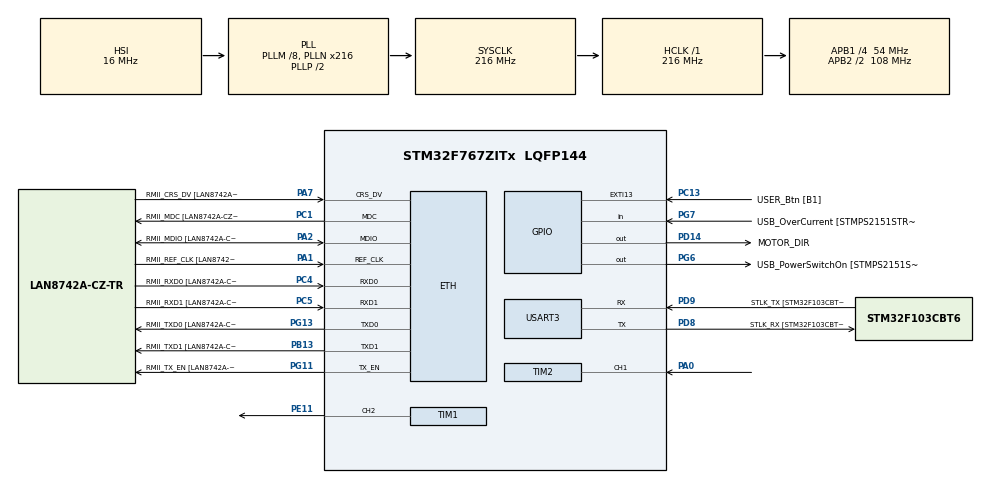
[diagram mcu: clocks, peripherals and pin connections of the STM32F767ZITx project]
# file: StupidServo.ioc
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Dma.Request0=USART3_RX
Dma.Request1=USART3_TX
Dma.USART3_RX.0.Direction=DMA_PERIPH_TO_MEMORY
Dma.USART3_RX.0.FIFOMode=DMA_FIFOMODE_DISABLE
Dma.USART3_RX.0.Instance=DMA1_Stream1
Dma.USART3_RX.0.MemDataAlignment=DMA_MDATAALIGN_BYTE
Dma.USART3_RX.0.MemInc=DMA_MINC_ENABLE
Dma.USART3_RX.0.Mode=DMA_CIRCULAR
Dma.USART3_RX.0.PeriphDataAlignment=DMA_PDATAALIGN_BYTE
Dma.USART3_RX.0.PeriphInc=DMA_PINC_DISABLE
Dma.USART3_RX.0.Priority=DMA_PRIORITY_LOW
Dma.USART3_TX.1.Direction=DMA_MEMORY_TO_PERIPH
Dma.USART3_TX.1.FIFOMode=DMA_FIFOMODE_DISABLE
Dma.USART3_TX.1.Instance=DMA1_Stream3
Dma.USART3_TX.1.MemDataAlignment=DMA_MDATAALIGN_BYTE
Dma.USART3_TX.1.MemInc=DMA_MINC_ENABLE
Dma.USART3_TX.1.Mode=DMA_NORMAL
Dma.USART3_TX.1.PeriphDataAlignment=DMA_PDATAALIGN_BYTE
Dma.USART3_TX.1.PeriphInc=DMA_PINC_DISABLE
Dma.USART3_TX.1.Priority=DMA_PRIORITY_HIGH
ETH.MediaInterface=HAL_ETH_RMII_MODE
FREERTOS.Tasks01=defaultTask,0,256,StartDefaultTask,Default,NULL,Dynamic,NULL,NULL;NetDiscoverTask,-3,256,StartNetDiscoverTask,Default,NULL,Dynamic,NULL,NULL;NetServerTask,-3,256,StartNetServerTask,Default,NULL,Dynamic,NULL,NULL;NetTxTask,-3,256,StartNetTxTask,Default,NULL,Dynamic,NULL,NULL;UartTxTask,-3,256,StartUartTxTask,Default,NULL,Dynamic,NULL,NULL;TelemetryTask,-1,256,StartTelemetryTask,Default,NULL,Dynamic,NULL,NULL;UartRxTask,0,256,StartUartRxTask,Default,NULL,Dynamic,NULL,NULL
FREERTOS.configUSE_NEWLIB_REENTRANT=1
LWIP.BSP.number=1
LWIP.GATEWAY_ADDRESS=192.168.001.001
LWIP.IP_ADDRESS=192.168.001.002
LWIP.LWIP_DHCP=0
LWIP.NETMASK_ADDRESS=255.255.255.000
LWIP.Version=v2.1.2_Cube
LWIP0.BSP.STBoard=false
LWIP0.BSP.api=BSP_COMPONENT_DRIVER
LWIP0.BSP.component=LAN8742
LWIP0.BSP.instance=LAN8742
LWIP0.BSP.name=Driver_PHY
LWIP0.BSP.semaphore=S_LAN8742
LWIP0.BSP.solution=LAN8742
Mcu.Family=STM32F7
Mcu.Name=STM32F767ZITx
Mcu.Package=LQFP144
NVIC.DMA1_Stream1_IRQn=true\:5\:0\:false\:false\:true\:true\:false\:true\:true
NVIC.DMA1_Stream3_IRQn=true\:5\:0\:false\:false\:true\:true\:false\:true\:true
NVIC.ETH_IRQn=true\:5\:0\:false\:false\:true\:true\:false\:true\:true
NVIC.PriorityGroup=NVIC_PRIORITYGROUP_4
NVIC.TIM6_DAC_IRQn=true\:15\:0\:false\:false\:true\:false\:false\:true\:true
NVIC.TIM7_IRQn=true\:5\:0\:false\:false\:true\:true\:true\:true\:true
NVIC.TimeBase=TIM6_DAC_IRQn
NVIC.TimeBaseIP=TIM6
NVIC.USART3_IRQn=true\:5\:0\:false\:false\:true\:true\:true\:true\:true
PA0/WKUP.Signal=S_TIM2_CH1_ETR
PA1.GPIO_Label=RMII_REF_CLK [LAN8742A-CZ-TR_REFCLK0]
PA1.Mode=RMII
PA1.Signal=ETH_REF_CLK
PA10.GPIO_Label=USB_ID
PA10.Signal=USB_OTG_FS_ID
PA11.GPIO_Label=USB_DM
PA11.Signal=USB_OTG_FS_DM
PA12.GPIO_Label=USB_DP
PA12.Signal=USB_OTG_FS_DP
PA13.GPIO_Label=TMS
PA13.Signal=SYS_JTMS-SWDIO
PA14.GPIO_Label=TCK
PA14.Signal=SYS_JTCK-SWCLK
PA2.GPIO_Label=RMII_MDIO [LAN8742A-CZ-TR_MDIO]
PA2.Mode=RMII
PA2.Signal=ETH_MDIO
PA7.GPIO_Label=RMII_CRS_DV [LAN8742A-CZ-TR_CRS_DV]
PA7.Mode=RMII
PA7.Signal=ETH_CRS_DV
PA8.GPIO_Label=USB_SOF [TP1]
PA8.Signal=USB_OTG_FS_SOF
PA9.GPIO_Label=USB_VBUS
PA9.Signal=USB_OTG_FS_VBUS
PB13.GPIO_Label=RMII_TXD1 [LAN8742A-CZ-TR_TXD1]
PB13.Mode=RMII
PB13.Signal=ETH_TXD1
PB3.GPIO_Label=SW0
PB3.Signal=SYS_JTDO-SWO
PC1.GPIO_Label=RMII_MDC [LAN8742A-CZ-TR_MDC]
PC1.Mode=RMII
PC1.Signal=ETH_MDC
PC13.GPIO_Label=USER_Btn [B1]
PC13.Signal=GPXTI13
PC14/OSC32_IN.Signal=RCC_OSC32_IN
PC15/OSC32_OUT.Signal=RCC_OSC32_OUT
PC4.GPIO_Label=RMII_RXD0 [LAN8742A-CZ-TR_RXD0]
PC4.Mode=RMII
PC4.Signal=ETH_RXD0
PC5.GPIO_Label=RMII_RXD1 [LAN8742A-CZ-TR_RXD1]
PC5.Mode=RMII
PC5.Signal=ETH_RXD1
PD14.GPIO_Label=MOTOR_DIR
PD14.GPIO_ModeDefaultOutputPP=GPIO_MODE_OUTPUT_PP
PD14.Signal=GPIO_Output
PD8.GPIO_Label=STLK_RX [STM32F103CBT6_PA3]
PD8.Mode=Asynchronous
PD8.Signal=USART3_TX
PD9.GPIO_Label=STLK_TX [STM32F103CBT6_PA2]
PD9.Mode=Asynchronous
PD9.Signal=USART3_RX
PE11.GPIO_ModeDefaultPP=GPIO_MODE_AF_OD
PE11.GPIO_PuPd=GPIO_PULLDOWN
PE11.Signal=S_TIM1_CH2
PG11.GPIO_Label=RMII_TX_EN [LAN8742A-CZ-TR_TXEN]
PG11.Mode=RMII
PG11.Signal=ETH_TX_EN
PG13.GPIO_Label=RMII_TXD0 [LAN8742A-CZ-TR_TXD0]
PG13.Mode=RMII
PG13.Signal=ETH_TXD0
PG6.GPIO_Label=USB_PowerSwitchOn [STMPS2151STR_EN]
PG6.Signal=GPIO_Output
PG7.GPIO_Label=USB_OverCurrent [STMPS2151STR_FAULT]
PG7.Signal=GPIO_Input
PH0/OSC_IN.GPIO_Label=MCO [STM32F103CBT6_PA8]
PH0/OSC_IN.Signal=RCC_OSC_IN
PH1/OSC_OUT.Signal=RCC_OSC_OUT
ProjectManager.HeapSize=0x200
ProjectManager.StackSize=0x400
ProjectManager.TargetToolchain=STM32CubeIDE
RCC.48MHZClocksFreq_Value=24000000
RCC.AHBFreq_Value=216000000
RCC.APB1CLKDivider=RCC_HCLK_DIV4
RCC.APB1Freq_Value=54000000
RCC.APB1TimFreq_Value=108000000
RCC.APB2CLKDivider=RCC_HCLK_DIV2
RCC.APB2Freq_Value=108000000
RCC.APB2TimFreq_Value=216000000
RCC.CortexFreq_Value=216000000
RCC.HCLKFreq_Value=216000000
RCC.HSE_VALUE=16000000
RCC.HSI_VALUE=16000000
RCC.LSE_VALUE=32768
RCC.PLLM=8
RCC.PLLMUL=RCC_PLL_MUL9
RCC.PLLN=216
RCC.PRESCALERUSB=RCC_USBCLKSOURCE_PLL_DIV1_5
RCC.SYSCLKFreq_VALUE=216000000
RCC.SYSCLKSource=RCC_SYSCLKSOURCE_PLLCLK
RCC.SYSCLKSourceVirtual=RCC_SYSCLKSOURCE_PLLCLK
RCC.USBFreq_Value=216000000
RCC.VCOOutputFreq_Value=432000000
SH.S_TIM1_CH2.0=TIM1_CH2,PWM Generation2 CH2
SH.S_TIM2_CH1_ETR.0=TIM2_CH1,TriggerSource_TI1FP1
TIM1.Channel-PWM\ Generation2\ CH2=TIM_CHANNEL_2
TIM1.Period=52333
TIM1.Prescaler=9
TIM7.Period=6749
TIM7.Prescaler=639
USART3.VirtualMode-Asynchronous=VM_ASYNC
VP_FREERTOS_VS_CMSIS_V1.Mode=CMSIS_V1
VP_LWIP_VS_Enabled.Mode=Enabled
VP_SYS_VS_tim6.Mode=TIM6
VP_TIM2_VS_ControllerModeClock.Mode=Clock Mode
VP_TIM7_VS_ClockSourceINT.Mode=Enable_Timer
board=NUCLEO-F767ZI

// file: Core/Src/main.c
/* USER CODE BEGIN Header */
/**
  ******************************************************************************
  * @file           : main.c
  * @brief          : Main program body
  ******************************************************************************
  * @attention
  *
  * Copyright (c) 2026 STMicroelectronics.
  * All rights reserved.
  *
  * This software is licensed under terms that can be found in the LICENSE file
  * in the root directory of this software component.
  * If no LICENSE file comes with this software, it is provided AS-IS.
  *
  ******************************************************************************
  */
/* USER CODE END Header */
#include "main.h"
#include "cmsis_os.h"
#include "dma.h"
#include "lwip.h"
#include "tim.h"
#include "usart.h"
#include "gpio.h"

/* USER CODE BEGIN Includes */
#include "uart_rx.h"
#include "control_state.h"
#include "motor_control.h"
/* USER CODE END Includes */

/* USER CODE BEGIN PV */
extern UART_HandleTypeDef huart3;
/* USER CODE END PV */

void SystemClock_Config(void);
void MX_FREERTOS_Init(void);

int main(void)
{

  /* MCU Configuration--------------------------------------------------------*/

  /* Reset of all peripherals, Initializes the Flash interface and the Systick. */
  HAL_Init();

  /* Configure the system clock */
  SystemClock_Config();

  /* Initialize all configured peripherals */
  MX_GPIO_Init();
  MX_DMA_Init();
  MX_USART3_UART_Init();
  MX_TIM1_Init();
  MX_TIM2_Init();
  MX_TIM7_Init();
  /* USER CODE BEGIN 2 */
  control_init();
  uart_rx_dma_init(&huart3);
  MotorControl_Init();
  HAL_TIM_Base_Start_IT(&htim7); //PID
  HAL_TIM_Base_Start(&htim2);    //encoder
  /* USER CODE END 2 */

  /* Call init function for freertos objects (in cmsis_os2.c) */
  MX_FREERTOS_Init();

  /* Start scheduler */
  osKernelStart();

  /* We should never get here as control is now taken by the scheduler */

  /* Infinite loop */
  while (1)
  {

  }
}

void SystemClock_Config(void)
{
  RCC_OscInitTypeDef RCC_OscInitStruct = {0};
  RCC_ClkInitTypeDef RCC_ClkInitStruct = {0};

  /** Configure the main internal regulator output voltage
  */
  __HAL_RCC_PWR_CLK_ENABLE();
  __HAL_PWR_VOLTAGESCALING_CONFIG(PWR_REGULATOR_VOLTAGE_SCALE1);

  /** Initializes the RCC Oscillators according to the specified parameters
  * in the RCC_OscInitTypeDef structure.
  */
  RCC_OscInitStruct.OscillatorType = RCC_OSCILLATORTYPE_HSI;
  RCC_OscInitStruct.HSIState = RCC_HSI_ON;
  RCC_OscInitStruct.HSICalibrationValue = RCC_HSICALIBRATION_DEFAULT;
  RCC_OscInitStruct.PLL.PLLState = RCC_PLL_ON;
  RCC_OscInitStruct.PLL.PLLSource = RCC_PLLSOURCE_HSI;
  RCC_OscInitStruct.PLL.PLLM = 8;
  RCC_OscInitStruct.PLL.PLLN = 216;
  RCC_OscInitStruct.PLL.PLLP = RCC_PLLP_DIV2;
  RCC_OscInitStruct.PLL.PLLQ = 2;
  RCC_OscInitStruct.PLL.PLLR = 2;
  if (HAL_RCC_OscConfig(&RCC_OscInitStruct) != HAL_OK)
  {
    Error_Handler();
  }

  /** Activate the Over-Drive mode
  */
  if (HAL_PWREx_EnableOverDrive() != HAL_OK)
  {
    Error_Handler();
  }

  /** Initializes the CPU, AHB and APB buses clocks
  */
  RCC_ClkInitStruct.ClockType = RCC_CLOCKTYPE_HCLK|RCC_CLOCKTYPE_SYSCLK
                              |RCC_CLOCKTYPE_PCLK1|RCC_CLOCKTYPE_PCLK2;
  RCC_ClkInitStruct.SYSCLKSource = RCC_SYSCLKSOURCE_PLLCLK;
  RCC_ClkInitStruct.AHBCLKDivider = RCC_SYSCLK_DIV1;
  RCC_ClkInitStruct.APB1CLKDivider = RCC_HCLK_DIV4;
  RCC_ClkInitStruct.APB2CLKDivider = RCC_HCLK_DIV2;

  if (HAL_RCC_ClockConfig(&RCC_ClkInitStruct, FLASH_LATENCY_7) != HAL_OK)
  {
    Error_Handler();
  }
}

void HAL_TIM_PeriodElapsedCallback(TIM_HandleTypeDef *htim)
{
  if (htim->Instance == TIM6)
  {
    HAL_IncTick();
  }
  /* USER CODE BEGIN Callback 1 */

  if (htim->Instance == TIM7)
    {
	  MotorControl_Step();
    }

  /* USER CODE END Callback 1 */
}

void Error_Handler(void)
{
  __disable_irq();
  while (1)
  {
  }
}

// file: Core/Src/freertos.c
/* USER CODE BEGIN Header */
/**
  ******************************************************************************
  * File Name          : freertos.c
  * Description        : Code for freertos applications
  ******************************************************************************
  * @attention
  *
  * Copyright (c) 2026 STMicroelectronics.
  * All rights reserved.
  *
  * This software is licensed under terms that can be found in the LICENSE file
  * in the root directory of this software component.
  * If no LICENSE file comes with this software, it is provided AS-IS.
  *
  ******************************************************************************
  */
/* USER CODE END Header */

#include "FreeRTOS.h"
#include "task.h"
#include "main.h"
#include "cmsis_os.h"

/* USER CODE BEGIN Includes */
#include "net_discovery.h"
#include "net_server.h"
#include "net_tx.h"
#include "uart_tx.h"
#include "uart_rx.h"
#include "telemetry.h"
#include "pid_sample_rb.h"
#include "control_state.h"
#include "lwip.h"
#include "lwip/netif.h"
#include "lwip/ip_addr.h"   // for ipaddr_ntoa if you print IP
/* USER CODE END Includes */

osThreadId defaultTaskHandle;
osThreadId NetDiscoverTaskHandle;
osThreadId NetServerTaskHandle;
osThreadId NetTxTaskHandle;
osThreadId UartTxTaskHandle;
osThreadId TelemetryTaskHandle;
osThreadId UartRxTaskHandle;

void StartDefaultTask(void const * argument);
void StartNetDiscoverTask(void const * argument);
void StartNetServerTask(void const * argument);
void StartNetTxTask(void const * argument);
void StartUartTxTask(void const * argument);
void StartTelemetryTask(void const * argument);
void StartUartRxTask(void const * argument);

extern void MX_LWIP_Init(void);
void MX_FREERTOS_Init(void); /* (MISRA C 2004 rule 8.1) */

/* GetIdleTaskMemory prototype (linked to static allocation support) */
void vApplicationGetIdleTaskMemory( StaticTask_t **ppxIdleTaskTCBBuffer, StackType_t **ppxIdleTaskStackBuffer, uint32_t *pulIdleTaskStackSize );

/* USER CODE BEGIN GET_IDLE_TASK_MEMORY */
static StaticTask_t xIdleTaskTCBBuffer;
static StackType_t xIdleStack[configMINIMAL_STACK_SIZE];

void vApplicationGetIdleTaskMemory( StaticTask_t **ppxIdleTaskTCBBuffer, StackType_t **ppxIdleTaskStackBuffer, uint32_t *pulIdleTaskStackSize )
{
  *ppxIdleTaskTCBBuffer = &xIdleTaskTCBBuffer;
  *ppxIdleTaskStackBuffer = &xIdleStack[0];
  *pulIdleTaskStackSize = configMINIMAL_STACK_SIZE;
  /* place for user code */
}
/* USER CODE END GET_IDLE_TASK_MEMORY */

void MX_FREERTOS_Init(void) {
  /* USER CODE BEGIN Init */
	log_router_init();
  /* USER CODE END Init */

  /* Create the thread(s) */
  /* definition and creation of defaultTask */
  osThreadDef(defaultTask, StartDefaultTask, osPriorityNormal, 0, 256);
  defaultTaskHandle = osThreadCreate(osThread(defaultTask), NULL);

  /* definition and creation of NetDiscoverTask */
  osThreadDef(NetDiscoverTask, StartNetDiscoverTask, osPriorityIdle, 0, 256);
  NetDiscoverTaskHandle = osThreadCreate(osThread(NetDiscoverTask), NULL);

  /* definition and creation of NetServerTask */
  osThreadDef(NetServerTask, StartNetServerTask, osPriorityIdle, 0, 256);
  NetServerTaskHandle = osThreadCreate(osThread(NetServerTask), NULL);

  /* definition and creation of NetTxTask */
  osThreadDef(NetTxTask, StartNetTxTask, osPriorityIdle, 0, 256);
  NetTxTaskHandle = osThreadCreate(osThread(NetTxTask), NULL);

  /* definition and creation of UartTxTask */
  osThreadDef(UartTxTask, StartUartTxTask, osPriorityIdle, 0, 256);
  UartTxTaskHandle = osThreadCreate(osThread(UartTxTask), NULL);

  /* definition and creation of TelemetryTask */
  osThreadDef(TelemetryTask, StartTelemetryTask, osPriorityBelowNormal, 0, 256);
  TelemetryTaskHandle = osThreadCreate(osThread(TelemetryTask), NULL);

  /* definition and creation of UartRxTask */
  osThreadDef(UartRxTask, StartUartRxTask, osPriorityNormal, 0, 256);
  UartRxTaskHandle = osThreadCreate(osThread(UartRxTask), NULL);

}

void StartDefaultTask(void const * argument)
{
  /* init code for LWIP */
  MX_LWIP_Init();
  /* USER CODE BEGIN StartDefaultTask */
  /* Infinite loop */
  char buf[64];
  int i = 0;

  for(;;)
  {

	osDelay(1000);
  }
  /* USER CODE END StartDefaultTask */
}

void StartNetDiscoverTask(void const * argument)
{
  /* USER CODE BEGIN StartNetDiscoverTask */
  /* Infinite loop */
  NetDiscover();
  /* USER CODE END StartNetDiscoverTask */
}

void StartNetServerTask(void const * argument)
{
  /* USER CODE BEGIN StartNetServerTask */
  /* Infinite loop */
  NetServer();
  /* USER CODE END StartNetServerTask */
}

void StartNetTxTask(void const * argument)
{
  /* USER CODE BEGIN StartNetTxTask */
  /* Infinite loop */
  NetTx();
  /* USER CODE END StartNetTxTask */
}

void StartUartTxTask(void const * argument)
{
  /* USER CODE BEGIN StartUartTxTask */
  /* Infinite loop */
  UartTx();
  /* USER CODE END StartUartTxTask */
}

void StartTelemetryTask(void const * argument)
{
  /* USER CODE BEGIN StartTelemetryTask */
  /* Infinite loop */
	Telemetry();
  /* USER CODE END StartTelemetryTask */
}

void StartUartRxTask(void const * argument)
{
  /* USER CODE BEGIN StartUartRxTask */
  /* Infinite loop */
	UartRx();
  /* USER CODE END StartUartRxTask */
}
